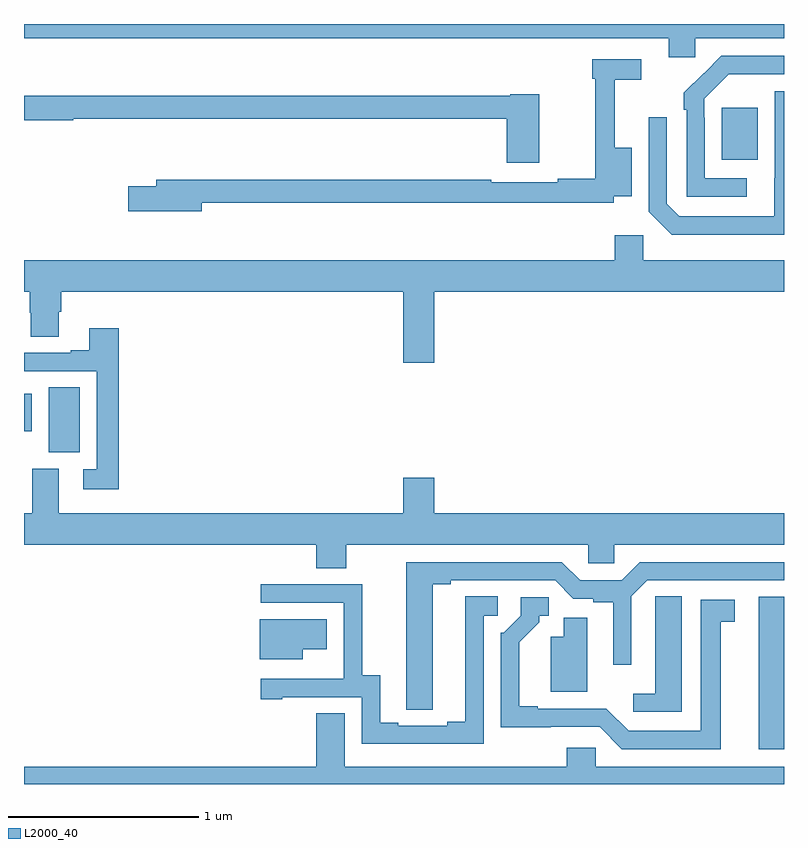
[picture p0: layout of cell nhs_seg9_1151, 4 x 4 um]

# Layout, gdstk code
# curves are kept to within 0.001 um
import gdstk
lib = gdstk.Library(unit=1e-6, precision=1e-09)
def R(c, l, rs):  # rectangles x0, y0, x1, y1
    for r in rs: c.add(gdstk.rectangle(r[:2], r[2:], *l))
def P(c, l, *ps):  # polygons
    for p in ps: c.add(gdstk.Polygon(p, *l))
L2000_40 = (2000, 40)

nhs_seg9_1151 = lib.new_cell('nhs_seg9_1151')
R(nhs_seg9_1151, L2000_40, [(178.868,1188.684,179,1189.486), (175.13,1190.245,175.294,1190.588), (175,1190.357,175.042,1190.554), (178.673,1191.785,178.861,1192.06)])
P(nhs_seg9_1151, L2000_40, [(178.533,1192.424),(179,1192.424),(179,1192.5),(175,1192.5),(175,1192.424),(178.394,1192.424),(178.394,1192.326),(178.533,1192.326)],
  [(178.804,1191.687),(178.584,1191.687),(178.584,1192.007),(178.581,1192.007),(178.581,1192.107),(178.71,1192.236),(179,1192.236),(179,1192.332),(178.67,1192.332),(178.473,1192.137),(178.473,1192.049),(178.488,1192.049),(178.488,1191.591),(178.804,1191.591)],
  [(175.936,1191.558),(178.104,1191.558),(178.104,1191.593),(178.198,1191.593),(178.198,1191.85),(178.109,1191.85),(178.109,1192.206),(178.249,1192.206),(178.249,1192.314),(177.991,1192.314),(177.991,1192.211),(178.006,1192.211),(178.006,1191.686),(177.808,1191.686),(177.808,1191.666),(177.458,1191.666),(177.458,1191.679),(175.697,1191.679),(175.697,1191.645),(175.548,1191.645),(175.548,1191.515),(175.936,1191.515)],
  [(179,1192.146),(178.95,1192.146),(178.95,1191.689),(178.949,1191.689),(178.949,1191.489),(178.449,1191.489),(178.383,1191.555),(178.383,1192.009),(178.287,1192.009),(178.287,1191.513),(178.408,1191.392),(179,1191.392)],
  [(177.712,1192.131),(177.558,1192.131),(177.558,1192.123),(175,1192.123),(175,1191.994),(175.258,1191.994),(175.258,1192.002),(177.542,1192.002),(177.542,1191.771),(177.712,1191.771)],
  [(177.16,1191.092),(179,1191.092),(179,1191.256),(178.26,1191.256),(178.26,1191.388),(178.109,1191.388),(178.109,1191.256),(175,1191.256),(175,1191.092),(175.031,1191.092),(175.031,1190.979),(175.036,1190.979),(175.036,1190.854),(175.183,1190.854),(175.183,1190.986),(175.196,1190.986),(175.196,1191.092),(176.996,1191.092),(176.996,1190.718),(177.16,1190.718)],
  [(175.499,1190.899),(175.343,1190.899),(175.343,1190.782),(175.247,1190.782),(175.247,1190.769),(175,1190.769),(175,1190.673),(175.383,1190.673),(175.383,1190.157),(175.311,1190.157),(175.311,1190.052),(175.499,1190.052)],
  [(176.697,1189.76),(177.969,1189.76),(177.969,1189.662),(178.107,1189.662),(178.107,1189.76),(179,1189.76),(179,1189.924),(177.16,1189.924),(177.16,1190.113),(176.996,1190.113),(176.996,1189.924),(175.183,1189.924),(175.183,1190.16),(175.043,1190.16),(175.043,1189.924),(175,1189.924),(175,1189.76),(176.537,1189.76),(176.537,1189.636),(176.697,1189.636)],
  [(177.151,1189.552),(177.247,1189.552),(177.247,1189.572),(177.795,1189.572),(177.891,1189.476),(177.996,1189.476),(177.996,1189.456),(178.1,1189.456),(178.1,1189.128),(178.197,1189.128),(178.197,1189.488),(178.281,1189.572),(179,1189.572),(179,1189.668),(178.241,1189.668),(178.145,1189.572),(177.927,1189.572),(177.831,1189.668),(177.011,1189.668),(177.012,1188.892),(177.151,1188.892)],
  [(177.42,1189.386),(177.493,1189.386),(177.493,1189.487),(177.323,1189.487),(177.323,1188.827),(177.227,1188.827),(177.227,1188.807),(176.971,1188.807),(176.971,1188.822),(176.875,1188.822),(176.875,1189.073),(176.781,1189.073),(176.781,1189.551),(176.247,1189.551),(176.247,1189.455),(176.682,1189.455),(176.682,1189.054),(176.681,1189.054),(176.681,1189.053),(176.247,1189.053),(176.247,1188.945),(176.359,1188.945),(176.359,1188.957),(176.778,1188.957),(176.778,1188.711),(177.42,1188.711)],
  [(178.462,1189.487),(178.323,1189.487),(178.323,1189.379),(178.322,1189.379),(178.322,1188.976),(178.206,1188.976),(178.206,1188.879),(178.462,1188.879)],
  [(178.666,1189.354),(178.741,1189.354),(178.741,1189.47),(178.562,1189.47),(178.562,1188.78),(178.182,1188.78),(178.065,1188.897),(177.703,1188.897),(177.703,1188.91),(177.607,1188.91),(177.607,1189.246),(177.712,1189.351),(177.712,1189.386),(177.762,1189.386),(177.762,1189.482),(177.615,1189.482),(177.615,1189.386),(177.525,1189.296),(177.51,1189.296),(177.51,1188.8),(178.029,1188.801),(178.146,1188.684),(178.666,1188.684)],
  [(177.964,1189.374),(177.842,1189.374),(177.842,1189.276),(177.773,1189.276),(177.773,1188.986),(177.964,1188.986)],
  [(176.467,1189.208),(176.593,1189.208),(176.593,1189.366),(176.24,1189.366),(176.24,1189.157),(176.467,1189.157)],
  [(179,1188.592),(178.008,1188.592),(178.008,1188.69),(177.857,1188.69),(177.857,1188.592),(176.689,1188.592),(176.689,1188.872),(176.537,1188.872),(176.537,1188.592),(175,1188.592),(175,1188.5),(179,1188.5)])

lib.write_gds('nhs_seg9_1151.gds')
